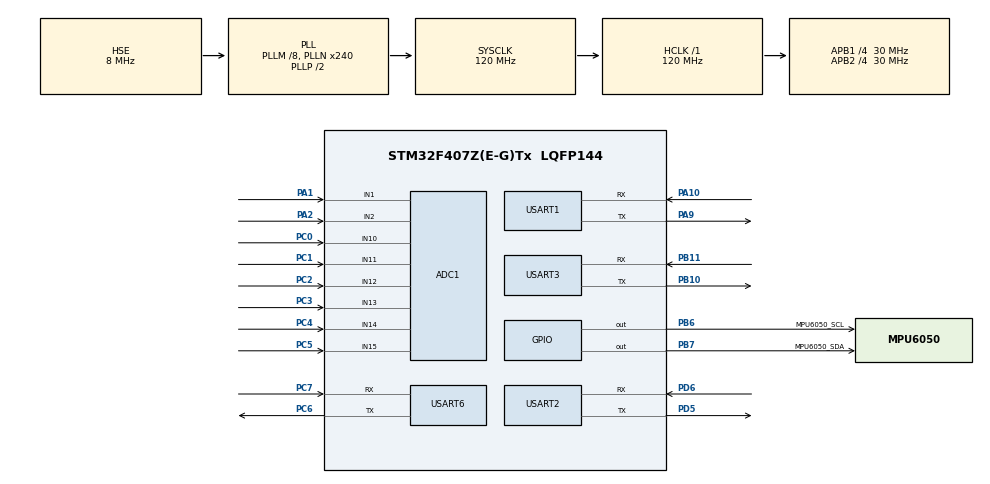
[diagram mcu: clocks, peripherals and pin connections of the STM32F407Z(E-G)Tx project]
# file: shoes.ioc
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ADC1.Channel-0\#ChannelRegularConversion=ADC_CHANNEL_1
ADC1.Channel-1\#ChannelRegularConversion=ADC_CHANNEL_1
ADC1.Channel-2\#ChannelRegularConversion=ADC_CHANNEL_1
ADC1.Channel-3\#ChannelRegularConversion=ADC_CHANNEL_1
ADC1.Channel-4\#ChannelRegularConversion=ADC_CHANNEL_1
ADC1.Channel-5\#ChannelRegularConversion=ADC_CHANNEL_1
ADC1.Channel-6\#ChannelRegularConversion=ADC_CHANNEL_1
ADC1.Channel-7\#ChannelRegularConversion=ADC_CHANNEL_1
ADC1.ContinuousConvMode=DISABLE
ADC1.NbrOfConversion=8
ADC1.NbrOfConversionFlag=1
ADC1.Rank-0\#ChannelRegularConversion=1
ADC1.Rank-1\#ChannelRegularConversion=2
ADC1.Rank-2\#ChannelRegularConversion=3
ADC1.Rank-3\#ChannelRegularConversion=4
ADC1.Rank-4\#ChannelRegularConversion=5
ADC1.Rank-5\#ChannelRegularConversion=6
ADC1.Rank-6\#ChannelRegularConversion=7
ADC1.Rank-7\#ChannelRegularConversion=8
ADC1.SamplingTime-0\#ChannelRegularConversion=ADC_SAMPLETIME_144CYCLES
ADC1.SamplingTime-1\#ChannelRegularConversion=ADC_SAMPLETIME_144CYCLES
ADC1.SamplingTime-2\#ChannelRegularConversion=ADC_SAMPLETIME_144CYCLES
ADC1.SamplingTime-3\#ChannelRegularConversion=ADC_SAMPLETIME_144CYCLES
ADC1.SamplingTime-4\#ChannelRegularConversion=ADC_SAMPLETIME_144CYCLES
ADC1.SamplingTime-5\#ChannelRegularConversion=ADC_SAMPLETIME_144CYCLES
ADC1.SamplingTime-6\#ChannelRegularConversion=ADC_SAMPLETIME_144CYCLES
ADC1.SamplingTime-7\#ChannelRegularConversion=ADC_SAMPLETIME_144CYCLES
ADC1.ScanConvMode=ENABLE
ADC1.master=1
Dma.ADC1.0.Direction=DMA_PERIPH_TO_MEMORY
Dma.ADC1.0.FIFOMode=DMA_FIFOMODE_DISABLE
Dma.ADC1.0.Instance=DMA2_Stream0
Dma.ADC1.0.MemDataAlignment=DMA_MDATAALIGN_HALFWORD
Dma.ADC1.0.MemInc=DMA_MINC_ENABLE
Dma.ADC1.0.Mode=DMA_CIRCULAR
Dma.ADC1.0.PeriphDataAlignment=DMA_PDATAALIGN_HALFWORD
Dma.ADC1.0.PeriphInc=DMA_PINC_DISABLE
Dma.ADC1.0.Priority=DMA_PRIORITY_LOW
Dma.Request0=ADC1
Mcu.Family=STM32F4
Mcu.Name=STM32F407Z(E-G)Tx
Mcu.Package=LQFP144
NVIC.ADC_IRQn=true\:0\:0\:false\:false\:true\:true\:true\:true
NVIC.DMA2_Stream0_IRQn=true\:0\:0\:false\:false\:true\:false\:true\:true
NVIC.PriorityGroup=NVIC_PRIORITYGROUP_4
NVIC.USART1_IRQn=true\:0\:0\:false\:false\:true\:true\:true\:true
NVIC.USART2_IRQn=true\:0\:0\:false\:false\:true\:true\:true\:true
NVIC.USART3_IRQn=true\:0\:0\:false\:false\:true\:true\:true\:true
NVIC.USART6_IRQn=true\:0\:0\:false\:false\:true\:true\:true\:true
PA1.Signal=ADCx_IN1
PA10.Mode=Asynchronous
PA10.Signal=USART1_RX
PA13.Mode=Serial_Wire
PA13.Signal=SYS_JTMS-SWDIO
PA14.Mode=Serial_Wire
PA14.Signal=SYS_JTCK-SWCLK
PA2.Signal=ADCx_IN2
PA9.Mode=Asynchronous
PA9.Signal=USART1_TX
PB10.Mode=Asynchronous
PB10.Signal=USART3_TX
PB11.Mode=Asynchronous
PB11.Signal=USART3_RX
PB6.GPIO_Label=MPU6050_SCL
PB6.GPIO_ModeDefaultOutputPP=GPIO_MODE_OUTPUT_OD
PB6.GPIO_PuPd=GPIO_NOPULL
PB6.Signal=GPIO_Output
PB7.GPIO_Label=MPU6050_SDA
PB7.GPIO_ModeDefaultOutputPP=GPIO_MODE_OUTPUT_OD
PB7.GPIO_PuPd=GPIO_NOPULL
PB7.Signal=GPIO_Output
PC0.Signal=ADCx_IN10
PC1.Signal=ADCx_IN11
PC2.Signal=ADCx_IN12
PC3.Signal=ADCx_IN13
PC4.Signal=ADCx_IN14
PC5.Signal=ADCx_IN15
PC6.Mode=Asynchronous
PC6.Signal=USART6_TX
PC7.Mode=Asynchronous
PC7.Signal=USART6_RX
PD5.Mode=Asynchronous
PD5.Signal=USART2_TX
PD6.Mode=Asynchronous
PD6.Signal=USART2_RX
PH0-OSC_IN.Mode=HSE-External-Oscillator
PH0-OSC_IN.Signal=RCC_OSC_IN
PH1-OSC_OUT.Mode=HSE-External-Oscillator
PH1-OSC_OUT.Signal=RCC_OSC_OUT
ProjectManager.HeapSize=0x200
ProjectManager.StackSize=0x400
ProjectManager.TargetToolchain=MDK-ARM V5.32
RCC.48MHZClocksFreq_Value=60000000
RCC.AHBFreq_Value=120000000
RCC.APB1CLKDivider=RCC_HCLK_DIV4
RCC.APB1Freq_Value=30000000
RCC.APB1TimFreq_Value=60000000
RCC.APB2CLKDivider=RCC_HCLK_DIV4
RCC.APB2Freq_Value=30000000
RCC.APB2TimFreq_Value=60000000
RCC.CortexFreq_Value=120000000
RCC.HCLKFreq_Value=120000000
RCC.HSE_VALUE=8000000
RCC.HSI_VALUE=16000000
RCC.LSE_VALUE=32768
RCC.PLLM=8
RCC.PLLN=240
RCC.PLLSourceVirtual=RCC_PLLSOURCE_HSE
RCC.SYSCLKFreq_VALUE=120000000
RCC.SYSCLKSource=RCC_SYSCLKSOURCE_PLLCLK
RCC.VCOOutputFreq_Value=240000000
SH.ADCx_IN1.0=ADC1_IN1,IN1
SH.ADCx_IN10.0=ADC1_IN10,IN10
SH.ADCx_IN11.0=ADC1_IN11,IN11
SH.ADCx_IN12.0=ADC1_IN12,IN12
SH.ADCx_IN13.0=ADC1_IN13,IN13
SH.ADCx_IN14.0=ADC1_IN14,IN14
SH.ADCx_IN15.0=ADC1_IN15,IN15
SH.ADCx_IN2.0=ADC1_IN2,IN2
USART1.VirtualMode=VM_ASYNC
USART2.VirtualMode=VM_ASYNC
USART3.VirtualMode=VM_ASYNC
USART6.VirtualMode=VM_ASYNC
board=custom

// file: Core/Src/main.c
/* USER CODE BEGIN Header */
/**
  ******************************************************************************
  * @file           : main.c
  * @brief          : Main program body
  ******************************************************************************
  * @attention
  *
  * Copyright (c) 2024 STMicroelectronics.
  * All rights reserved.
  *
  * This software is licensed under terms that can be found in the LICENSE file
  * in the root directory of this software component.
  * If no LICENSE file comes with this software, it is provided AS-IS.
  *
  ******************************************************************************
  */
/* USER CODE END Header */
#include "main.h"
#include "adc.h"
#include "dma.h"
#include "usart.h"
#include "gpio.h"

/* USER CODE BEGIN Includes */
#include "stdio.h"
#include "string.h"
#include "IIC.h"
#include "mpu6050.h"
#include "inv_mpu.h"
#include "inv_mpu_dmp_motion_driver.h"
/* USER CODE END Includes */

/* USER CODE BEGIN PTD */
uint8_t Buffer1[1];
uint16_t g_usart1_rx_sta;
uint8_t g_usart1_rx_buffer[200];
/* USER CODE END PTD */

void SystemClock_Config(void);
/* USER CODE BEGIN PFP */
/* ========== RTOS & AI includes ========== */
#include "cmsis_os2.h"
#include "NanoEdgeAI.h"
#include "knowledge.h"

/* ========== 用户数据结构与缓冲 ========== */
typedef struct {
    uint32_t ts;
    float pressure[8];
    float imu[6];
    float env[2];
} SensorData;

#define SAMPLE_PERIOD_MS 10
#define WINDOW_SIZE      20
#define FEATURE_DIM      20  /* 优化为20维特征 */

static SensorData g_window[WINDOW_SIZE];
static volatile uint32_t g_samples_count;

static float feature_vector[FEATURE_DIM];

/* 任务与队列句柄 */
static osThreadId_t hTaskSampling, hTaskFeature, hTaskAI, hTaskBLE;
static osMessageQueueId_t qFeature, qBLE;

typedef struct {
    uint32_t ts;
    uint8_t stance;
    uint8_t arch;
    uint8_t sweat;
    float probs[CLASS_NUMBER];
} AI_Result;

/* ========== 窗口特征提取（均值/标准差/能量） ========== */
static void compute_mean_std(const float *x, int n, float *mean, float *std)
{
    float sum = 0.0f, sum_sq = 0.0f;
    for (int i = 0; i < n; ++i) {
        sum += x[i];
        sum_sq += x[i] * x[i];
    }
    *mean = sum / (float)n;
    float var = (sum_sq / (float)n) - (*mean) * (*mean);
    *std = (var > 0.0f) ? sqrtf(var) : 0.0f;
}

static void extract_features_window(float *out20)
{
    if (g_samples_count < WINDOW_SIZE) {
        for (int i = 0; i < FEATURE_DIM; ++i) out20[i] = 0.0f;
        return;
    }

    int cursor = 0;
    float temp_buf[WINDOW_SIZE];

    /* 关键压力传感器 4 路：均值（足弓判断用） */
    for (int ch = 0; ch < 4; ++ch) {
        for (int i = 0; i < WINDOW_SIZE; ++i) {
            temp_buf[i] = g_window[i].pressure[ch];
        }
        compute_mean_std(temp_buf, WINDOW_SIZE, &out20[cursor], NULL);
        cursor++;
    }

    /* IMU 6 轴：均值（姿态判断用） */
    for (int ch = 0; ch < 6; ++ch) {
        for (int i = 0; i < WINDOW_SIZE; ++i) {
            temp_buf[i] = g_window[i].imu[ch];
        }
        compute_mean_std(temp_buf, WINDOW_SIZE, &out20[cursor], NULL);
        cursor++;
    }

    /* 环境 2 路：均值（出汗判断用） */
    for (int ch = 0; ch < 2; ++ch) {
        for (int i = 0; i < WINDOW_SIZE; ++i) {
            temp_buf[i] = g_window[i].env[ch];
        }
        compute_mean_std(temp_buf, WINDOW_SIZE, &out20[cursor], NULL);
        cursor++;
    }

    /* 压力分布方差（足弓特征） */
    float pressure_var = 0.0f;
    for (int ch = 0; ch < 8; ++ch) {
        float mean = 0.0f;
        for (int i = 0; i < WINDOW_SIZE; ++i) mean += g_window[i].pressure[ch];
        mean /= WINDOW_SIZE;
        for (int i = 0; i < WINDOW_SIZE; ++i) {
            float diff = g_window[i].pressure[ch] - mean;
            pressure_var += diff * diff;
        }
    }
    out20[cursor++] = pressure_var / (WINDOW_SIZE * 8);

    /* 姿态变化幅度（姿态特征） */
    float motion_amp = 0.0f;
    for (int ch = 0; ch < 6; ++ch) {
        float max_val = g_window[0].imu[ch], min_val = g_window[0].imu[ch];
        for (int i = 1; i < WINDOW_SIZE; ++i) {
            if (g_window[i].imu[ch] > max_val) max_val = g_window[i].imu[ch];
            if (g_window[i].imu[ch] < min_val) min_val = g_window[i].imu[ch];
        }
        motion_amp += (max_val - min_val) * (max_val - min_val);
    }
    out20[cursor++] = sqrtf(motion_amp / 6.0f);

    /* 填充剩余维度 */
    while (cursor < FEATURE_DIM) out20[cursor++] = 0.0f;
}

/* ========== 传感器读取函数声明 ========== */
static void read_pressure_sensors(float pressure[8]);
static void read_temp_humidity(float temp_humid[2]);

/* ========== 任务函数声明 ========== */
static void Task_Sampling(void *argument);
static void Task_Feature(void *argument);
static void Task_AI(void *argument);
static void Task_BLE(void *argument);

/* USER CODE END PFP */

/* USER CODE BEGIN 0 */
volatile uint16_t ADC_Buffer[8];
uint32_t cnt;
uint8_t led_flag;
/* USER CODE END 0 */

int main(void)
{
  /* USER CODE BEGIN 1 */
		float pitch,roll,yaw;           // 欧拉角
    short aacx,aacy,aacz;          // 加速度原始数据
    short gyrox,gyroy,gyroz;       // 陀螺仪原始数据
    float temp;                    // 温度
  /* USER CODE END 1 */

  /* MCU Configuration--------------------------------------------------------*/

  /* Reset of all peripherals, Initializes the Flash interface and the Systick. */
  HAL_Init();

  /* Configure the system clock */
  SystemClock_Config();

  /* USER CODE BEGIN SysInit */
  /* 初始化 NanoEdge AI */
  if (neai_classification_init(knowledge) != NEAI_OK) {
  }
  /* USER CODE END SysInit */

  /* Initialize all configured peripherals */
  MX_GPIO_Init();
  MX_DMA_Init();
  MX_USART1_UART_Init();
  MX_USART2_UART_Init();
  MX_USART3_UART_Init();
  MX_USART6_UART_Init();
  MX_ADC1_Init();
  /* USER CODE BEGIN 2 */
  MPU_Init();
  mpu_dmp_init();

  /* ====== 创建 RTOS 资源 ====== */
  osKernelInitialize();
  qFeature = osMessageQueueNew(2, sizeof(feature_vector), NULL);
  qBLE     = osMessageQueueNew(4, sizeof(AI_Result), NULL);

  const osThreadAttr_t attrSampling = { .name = "Sampling", .priority = osPriorityHigh };
  const osThreadAttr_t attrFeature  = { .name = "Feature",  .priority = osPriorityNormal };
  const osThreadAttr_t attrAI       = { .name = "AI",       .priority = osPriorityNormal };
  const osThreadAttr_t attrBLE      = { .name = "BLE",      .priority = osPriorityBelowNormal };

  hTaskSampling = osThreadNew(Task_Sampling, NULL, &attrSampling);
  hTaskFeature  = osThreadNew(Task_Feature,  NULL, &attrFeature);
  hTaskAI       = osThreadNew(Task_AI,       NULL, &attrAI);
  hTaskBLE      = osThreadNew(Task_BLE,      NULL, &attrBLE);

  osKernelStart();
  /* 不应返回 */
  /* USER CODE END 2 */

  while (1) { }
}

void SystemClock_Config(void)
{
  RCC_OscInitTypeDef RCC_OscInitStruct = {0};
  RCC_ClkInitTypeDef RCC_ClkInitStruct = {0};

  /** Configure the main internal regulator output voltage
  */
  __HAL_RCC_PWR_CLK_ENABLE();
  __HAL_PWR_VOLTAGESCALING_CONFIG(PWR_REGULATOR_VOLTAGE_SCALE1);

  /** Initializes the RCC Oscillators according to the specified parameters
  * in the RCC_OscInitTypeDef structure.
  */
  RCC_OscInitStruct.OscillatorType = RCC_OSCILLATORTYPE_HSE;
  RCC_OscInitStruct.HSEState = RCC_HSE_ON;
  RCC_OscInitStruct.PLL.PLLState = RCC_PLL_ON;
  RCC_OscInitStruct.PLL.PLLSource = RCC_PLLSOURCE_HSE;
  RCC_OscInitStruct.PLL.PLLM = 8;
  RCC_OscInitStruct.PLL.PLLN = 240;
  RCC_OscInitStruct.PLL.PLLP = RCC_PLLP_DIV2;
  RCC_OscInitStruct.PLL.PLLQ = 4;
  if (HAL_RCC_OscConfig(&RCC_OscInitStruct) != HAL_OK)
  {
    Error_Handler();
  }

  /** Initializes the CPU, AHB and APB buses clocks
  */
  RCC_ClkInitStruct.ClockType = RCC_CLOCKTYPE_HCLK|RCC_CLOCKTYPE_SYSCLK
                              |RCC_CLOCKTYPE_PCLK1|RCC_CLOCKTYPE_PCLK2;
  RCC_ClkInitStruct.SYSCLKSource = RCC_SYSCLKSOURCE_PLLCLK;
  RCC_ClkInitStruct.AHBCLKDivider = RCC_SYSCLK_DIV1;
  RCC_ClkInitStruct.APB1CLKDivider = RCC_HCLK_DIV4;
  RCC_ClkInitStruct.APB2CLKDivider = RCC_HCLK_DIV4;

  if (HAL_RCC_ClockConfig(&RCC_ClkInitStruct, FLASH_LATENCY_3) != HAL_OK)
  {
    Error_Handler();
  }
}

/* USER CODE BEGIN 4 */

/* ========== 传感器读取实现 ========== */
static void read_pressure_sensors(float pressure[8])
{
    /* 启动 ADC DMA 读取 8 路压力传感器 */
    HAL_ADC_Start_DMA(&hadc1, (uint32_t*)ADC_Buffer, 8);
    HAL_Delay(1); /* 等待 DMA 完成 */
    for (int i = 0; i < 8; ++i) {
        pressure[i] = (float)ADC_Buffer[i] * 3.3f / 4095.0f; /* 转换为电压值 */
    }
}

static void read_temp_humidity(float temp_humid[2])
{
    /* 简化实现：从 MPU6050 获取温度，湿度设为固定值 */
    float temp = MPU_Get_Temperature() / 100.0f; /* 转换为摄氏度 */
    temp_humid[0] = temp;
    temp_humid[1] = 50.0f; /* 固定湿度 50%，后续可接入实际温湿度传感器 */
}

/* ========== FreeRTOS 任务实现 ========== */
static void Task_Sampling(void *argument)
{
  float pitch, roll, yaw;
  short aacx, aacy, aacz;
  short gyrox, gyroy, gyroz;
  (void)argument;
  for(;;) {
    osDelay(SAMPLE_PERIOD_MS);
    while (mpu_dmp_get_data(&pitch, &roll, &yaw));
    MPU_Get_Accelerometer(&aacx, &aacy, &aacz);
    MPU_Get_Gyroscope(&gyrox, &gyroy, &gyroz);

    SensorData s = {0};
    s.ts = HAL_GetTick();
    s.imu[0] = (float)aacx; s.imu[1] = (float)aacy; s.imu[2] = (float)aacz;
    s.imu[3] = (float)gyrox; s.imu[4] = (float)gyroy; s.imu[5] = (float)gyroz;

    /* 读取压力传感器和温湿度 */
    read_pressure_sensors(s.pressure);
    read_temp_humidity(s.env);

    g_window[g_samples_count % WINDOW_SIZE] = s;
    g_samples_count++;
  }
}

static void Task_Feature(void *argument)
{
  (void)argument;
  for(;;) {
    if (g_samples_count >= WINDOW_SIZE) {
      extract_features_window(feature_vector);
      (void)osMessageQueuePut(qFeature, feature_vector, 0U, 0U);
    }
    osDelay(100);
  }
}

static void Task_AI(void *argument)
{
  (void)argument;
  float fv[FEATURE_DIM];
  for(;;) {
    if (osMessageQueueGet(qFeature, fv, NULL, osWaitForever) == osOK) {
      AI_Result r = {0};
      r.ts = HAL_GetTick();

      /* 三模型分类：1个AI + 2个规则 */
      float input_user_buffer[DATA_INPUT_USER * AXIS_NUMBER] = {0};
      for (int i = 0; i < DATA_INPUT_USER && i < FEATURE_DIM; ++i) input_user_buffer[i] = fv[i];

      /* 姿态模型：NanoEdge AI（正常/内八/外八） */
      uint16_t stance_class = 0;
      float stance_probs[CLASS_NUMBER] = {0};
      neai_classification(input_user_buffer, stance_probs, &stance_class);
      r.stance = (uint8_t)stance_class;

      /* 足弓模型：规则判断（正常/扁平） */
      float arch_score = fv[13]; /* 压力分布方差特征 */
      r.arch = (arch_score > 0.5f) ? 1 : 0; /* 阈值判断 */

      /* 出汗模型：规则判断（正常/多汗） */
      float temp = fv[12];  /* 温度均值 */
      float humid = fv[13]; /* 湿度均值 */
      r.sweat = (temp > 25.0f && humid > 50.0f) ? 1 : 0; /* 温湿度阈值 */

      /* 复制概率（仅姿态模型有概率输出） */
      for (int i = 0; i < CLASS_NUMBER && i < 3; ++i) r.probs[i] = stance_probs[i];

      (void)osMessageQueuePut(qBLE, &r, 0U, 0U);
    }
  }
}

static void Task_BLE(void *argument)
{
  (void)argument;
  AI_Result r;
  char uart_msg[128];
  for(;;) {
    if (osMessageQueueGet(qUART, &r, NULL, osWaitForever) == osOK) {
      /* 格式化 JSON 输出到 UART */
      snprintf(uart_msg, sizeof(uart_msg),
               "{\"ts\":%lu,\"stance\":%u,\"arch\":%u,\"sweat\":%u,\"probs\":[%.3f,%.3f,%.3f]}\r\n",
               (unsigned long)r.ts, r.stance, r.arch, r.sweat,
               r.probs[0], r.probs[1], r.probs[2]);

      /* 通过 UART2 发送（115200 波特率） */
      HAL_UART_Transmit(&huart2, (uint8_t*)uart_msg, strlen(uart_msg), 100);
    }
  }
}

/* USER CODE END 4 */

void Error_Handler(void)
{
  __disable_irq();
  while (1)
  {
  }
}
